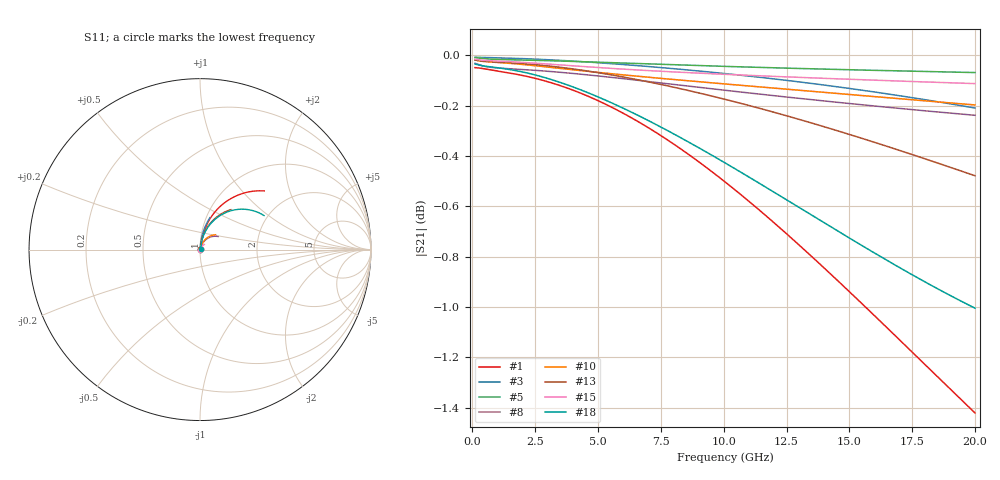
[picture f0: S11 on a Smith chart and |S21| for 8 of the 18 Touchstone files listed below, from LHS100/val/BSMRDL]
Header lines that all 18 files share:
! Touchstone file exported from HFSS 2026.1.0
!  Design:  BSMRDL
! Variables:
! Terminal data exported
# GHz S MA R 50.000000
Fixed: h_ox = 20um, h_rdl = 5um, h_sub = 80um, h_tmrdl = 5um, h_tsv = 80um, h_via = 3um, l_tmrdl = 200um, m_sub = 200um, r_tsv = 6um, s_tmrdl = 10um, w_sub = 500um, w_tmrdl = 12um, x_tsv_center1 = 206um
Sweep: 100 MHz to 20 GHz
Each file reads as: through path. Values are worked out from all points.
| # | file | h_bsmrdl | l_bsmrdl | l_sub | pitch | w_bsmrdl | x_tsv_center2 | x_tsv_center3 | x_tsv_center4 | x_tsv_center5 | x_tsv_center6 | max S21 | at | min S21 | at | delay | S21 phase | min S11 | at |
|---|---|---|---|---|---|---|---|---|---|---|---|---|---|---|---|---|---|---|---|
| 1 | dut1.s2p | 2.27um | 602.54um | 1002.54um | 56.17um | 17.11um | 825.65um | 1037.65um | 1657.3um | 1869.3um | 2488.95um | -0.05 dB | 100 MHz | -1.4 dB | 20 GHz | 6.46 ps | -25 deg at 10.1 GHz | -43.6 dB | 100 MHz |
| 2 | dut2.s2p | 2.11um | 911.93um | 1311.93um | 37.39um | 23.41um | 1141.34um | 1353.34um | 2288.68um | 2500.68um | 3436.02um | -0.06 dB | 100 MHz | -0.7 dB | 20 GHz | 7.72 ps | -29 deg at 10.1 GHz | -42.7 dB | 100 MHz |
| 3 | dut3.s2p | 5.97um | 170.7um | 570.7um | 49.33um | 11.63um | 388.33um | 600.33um | 782.66um | 994.66um | 1176.99um | -0.01 dB | 100 MHz | -0.2 dB | 20 GHz | 2.21 ps | -8 deg at 10.1 GHz | -56.8 dB | 100 MHz |
| 4 | dut4.s2p | 2.96um | 487.35um | 887.35um | 48.31um | 21.44um | 714.79um | 926.79um | 1435.58um | 1647.58um | 2156.37um | -0.03 dB | 100 MHz | -0.6 dB | 20 GHz | 4.9 ps | -19 deg at 10.1 GHz | -48.7 dB | 100 MHz |
| 5 | dut5.s2p | 3.71um | 191.12um | 591.12um | 22.32um | 19.39um | 416.51um | 628.51um | 839.02um | 1051.02um | 1261.53um | -0.01 dB | 100 MHz | -0.1 dB | 20 GHz | 1.53 ps | -6 deg at 10.1 GHz | -58.6 dB | 100 MHz |
| 6 | dut6.s2p | 3.15um | 100.12um | 500.12um | 47.39um | 27.08um | 333.2um | 545.2um | 672.4um | 884.4um | 1011.6um | -0.01 dB | 100 MHz | -0.1 dB | 20 GHz | 1.25 ps | -5 deg at 10.1 GHz | -61.3 dB | 100 MHz |
| 7 | dut7.s2p | 3.96um | 267.19um | 667.19um | 30.77um | 14.71um | 487.9um | 699.9um | 981.8um | 1193.8um | 1475.7um | -0.02 dB | 100 MHz | -0.2 dB | 20 GHz | 2.58 ps | -10 deg at 10.1 GHz | -53.8 dB | 100 MHz |
| 8 | dut9.s2p | 3.29um | 813.94um | 1213.94um | 33.05um | 25.69um | 1045.63um | 1257.63um | 2097.26um | 2309.26um | 3148.89um | -0.03 dB | 100 MHz | -0.2 dB | 20 GHz | 6.47 ps | -24 deg at 10.1 GHz | -48.0 dB | 100 MHz |
| 9 | dut10.s2p | 2.78um | 578.1um | 978.1um | 53.97um | 15.82um | 799.92um | 1011.92um | 1605.84um | 1817.84um | 2411.76um | -0.04 dB | 100 MHz | -1.3 dB | 20 GHz | 6.19 ps | -24 deg at 10.1 GHz | -44.7 dB | 100 MHz |
| 10 | dut11.s2p | 5.3um | 700.82um | 1100.82um | 33.48um | 24.42um | 931.24um | 1143.24um | 1868.48um | 2080.48um | 2805.72um | -0.02 dB | 100 MHz | -0.2 dB | 20 GHz | 5.54 ps | -20 deg at 10.1 GHz | -52.0 dB | 100 MHz |
| 11 | dut12.s2p | 2.51um | 341.17um | 741.17um | 30.72um | 18.94um | 566.11um | 778.11um | 1138.22um | 1350.22um | 1710.33um | -0.02 dB | 100 MHz | -0.2 dB | 20 GHz | 3.1 ps | -11 deg at 10.1 GHz | -50.4 dB | 100 MHz |
| 12 | dut13.s2p | 5.77um | 770.84um | 1170.84um | 30.97um | 26.77um | 1003.61um | 1215.61um | 2013.22um | 2225.22um | 3022.83um | -0.02 dB | 100 MHz | -0.2 dB | 20 GHz | 5.95 ps | -22 deg at 10.1 GHz | -53.2 dB | 100 MHz |
| 13 | dut14.s2p | 3.41um | 530um | 930um | 51.17um | 28.1um | 764.1um | 976.1um | 1534.2um | 1746.2um | 2304.3um | -0.02 dB | 100 MHz | -0.5 dB | 20 GHz | 4.99 ps | -19 deg at 10.1 GHz | -50.6 dB | 100 MHz |
| 14 | dut15.s2p | 5.11um | 668.6um | 1068.6um | 40.98um | 20.02um | 894.62um | 1106.62um | 1795.24um | 2007.24um | 2695.86um | -0.02 dB | 100 MHz | -0.6 dB | 20 GHz | 5.93 ps | -22 deg at 10.1 GHz | -49.4 dB | 100 MHz |
| 15 | dut16.s2p | 5.46um | 420.82um | 820.82um | 22.73um | 16.91um | 643.73um | 855.73um | 1293.46um | 1505.46um | 1943.19um | -0.02 dB | 100 MHz | -0.1 dB | 20 GHz | 3.25 ps | -12 deg at 10.1 GHz | -54.5 dB | 100 MHz |
| 16 | dut17.s2p | 4.74um | 371.94um | 771.94um | 43.1um | 29.55um | 607.49um | 819.49um | 1220.98um | 1432.98um | 1834.47um | -0.01 dB | 100 MHz | -0.1 dB | 20 GHz | 3.24 ps | -12 deg at 10.1 GHz | -56.5 dB | 100 MHz |
| 17 | dut18.s2p | 4.52um | 294.56um | 694.56um | 33.18um | 10um | 510.56um | 722.56um | 1027.12um | 1239.12um | 1543.68um | -0.02 dB | 100 MHz | -0.4 dB | 20 GHz | 3.13 ps | -12 deg at 10.1 GHz | -51.1 dB | 100 MHz |
| 18 | dut19.s2p | 4.01um | 979.54um | 1379.54um | 43.71um | 22.56um | 1208.1um | 1420.1um | 2422.2um | 2634.2um | 3636.3um | -0.04 dB | 100 MHz | -1.0 dB | 20 GHz | 8.34 ps | -32 deg at 10.1 GHz | -45.6 dB | 100 MHz |
